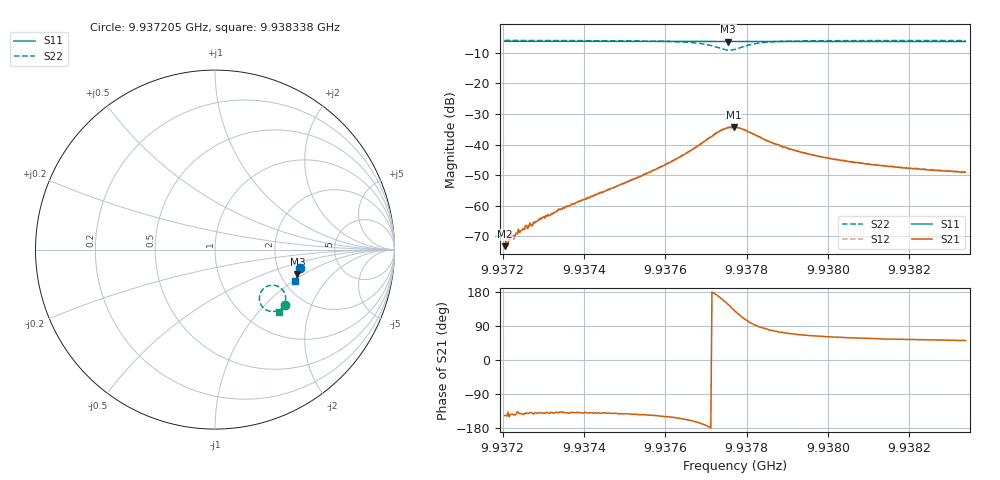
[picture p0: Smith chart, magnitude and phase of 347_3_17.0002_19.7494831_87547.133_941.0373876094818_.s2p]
#  HZ  S  RI  R  50.00
! Rohde & Schwarz Vector Network Analyzer
! Rohde-Schwarz,ZNB20-2Port,1311601062101988,3.16
! Created: UTC 3/20/2024, 11:07:41 PM
! freq[Hz]  re:S11  im:S11  re:S21  im:S21  re:S12  im:S12  re:S22  im:S22
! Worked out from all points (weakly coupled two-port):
!   401 points, 9.937205 GHz to 9.938338 GHz, reference 50 ohm
!   highest |S21| = -34.30 dB at 9.937768 GHz (marker M1); lowest = -73.2 dB at 9.937205 GHz (marker M2)
!   lowest |S11| = -6.4 dB at 9.937754 GHz (marker M3), VSWR 2.84, Z = 124 - j44 ohm
!   |S11| at or under -10 dB: nowhere
!   |S22| runs from -9.2 to -6.0 dB; largest |S21 - S12| = 0.00092
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9.9372049e9  0.473 -0.1019  -0.000183 -0.000122  -0.000204 -0.000177  0.3899 -0.3106
9.9372219e9  0.4727 -0.103  -0.00026 -0.000194  -0.000263 -0.000173  0.389 -0.3115
9.9372304e9  0.4725 -0.1035  -0.000265 -0.000187  -0.000268 -0.000187  0.3883 -0.3121
9.9372445e9  0.4723 -0.1046  -0.000303 -0.000246  -0.00033 -0.000231  0.3875 -0.3132
9.9372615e9  0.4719 -0.1058  -0.00033 -0.000267  -0.000343 -0.0003  0.386 -0.3142
9.9372672e9  0.4718 -0.106  -0.000392 -0.000349  -0.000371 -0.000296  0.3855 -0.3149
9.9373097e9  0.4711 -0.1089  -0.000505 -0.00045  -0.000533 -0.000452  0.3824 -0.3178
9.9373946e9  0.4692 -0.1145  -0.000928 -0.000795  -0.000957 -0.000789  0.3748 -0.3244
9.9375844e9  0.4648 -0.1273  -0.00353 -0.00225  -0.00359 -0.00223  0.3434 -0.3414
9.9376382e9  0.4635 -0.1309  -0.00576 -0.00276  -0.00593 -0.00269  0.3225 -0.3447
9.9376948e9  0.4617 -0.1346  -0.0109 -0.00185  -0.0111 -0.00167  0.2804 -0.3329
9.9377316e9  0.4601 -0.1365  -0.0158 0.00356  -0.0159 0.00392  0.2482 -0.2845
9.9377543e9  0.4593 -0.137  -0.0157 0.0105  -0.0157 0.011  0.2591 -0.2317
9.9377684e9  0.4592 -0.1375  -0.0128 0.0144  -0.0126 0.0149  0.287 -0.2064
9.9377713e9  0.4592 -0.1376  -0.0119 0.0149  -0.0118 0.0154  0.2937 -0.2034
9.9377939e9  0.4594 -0.1387  -0.00562 0.0165  -0.00516 0.0167  0.345 -0.2028
9.9378307e9  0.4592 -0.1415  0.000682 0.0135  0.000753 0.0134  0.3854 -0.2381
9.9378874e9  0.4582 -0.1456  0.00254 0.0088  0.00306 0.0089  0.3937 -0.2782
9.937961e9  0.4565 -0.1507  0.00293 0.00609  0.00313 0.00611  0.3876 -0.3033
9.9380516e9  0.4543 -0.1565  0.00274 0.00451  0.00284 0.00449  0.3791 -0.3195
9.9381507e9  0.4516 -0.163  0.00253 0.00359  0.00258 0.00363  0.3709 -0.3305
9.9383376e9  0.4464 -0.1749  0.00221 0.00275  0.0023 0.00276  0.3577 -0.3451
